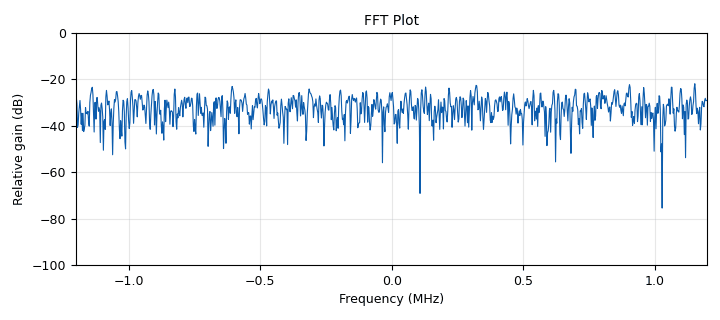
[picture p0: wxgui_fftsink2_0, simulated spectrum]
<?xml version='1.0' encoding='utf-8'?>
<flow_graph>
<block>
<key>options</key>
<param><key>id</key><value>top_block</value></param>
<param><key>generate_options</key><value>wx_gui</value></param>
<param><key>category</key><value>Custom</value></param>
</block>
<block>
<key>variable</key>
<param><key>id</key><value>samp_rate</value></param>
<param><key>value</key><value>2.4e6</value></param>
</block>
<block>
<key>wxgui_fftsink2</key>
<param><key>id</key><value>wxgui_fftsink2_0</value></param>
<param><key>type</key><value>complex</value></param>
<param><key>title</key><value>FFT Plot</value></param>
<param><key>samp_rate</key><value>samp_rate</value></param>
<param><key>baseband_freq</key><value>0</value></param>
<param><key>y_per_div</key><value>10</value></param>
<param><key>y_divs</key><value>10</value></param>
<param><key>ref_level</key><value>0</value></param>
<param><key>ref_scale</key><value>2.0</value></param>
<param><key>fft_size</key><value>1024</value></param>
<param><key>fft_rate</key><value>15</value></param>
<param><key>peak_hold</key><value>False</value></param>
<param><key>average</key><value>False</value></param>
<param><key>avg_alpha</key><value>0</value></param>
<param><key>win</key><value>None</value></param>
<param><key>freqvar</key><value>None</value></param>
</block>
<block>
<key>blocks_stream_to_vector</key>
<param><key>id</key><value>blocks_stream_to_vector_0</value></param>
<param><key>type</key><value>complex</value></param>
<param><key>num_items</key><value>2048</value></param>
</block>
<block>
<key>analog_noise_source_x</key>
<param><key>id</key><value>analog_noise_source_x_0</value></param>
<param><key>type</key><value>complex</value></param>
<param><key>noise_type</key><value>analog.GR_GAUSSIAN</value></param>
<param><key>amp</key><value>1</value></param>
<param><key>seed</key><value>0</value></param>
</block>
<block>
<key>gr_throttle</key>
<param><key>id</key><value>gr_throttle_0</value></param>
<param><key>type</key><value>complex</value></param>
<param><key>samples_per_second</key><value>samp_rate</value></param>
<param><key>vlen</key><value>1</value></param>
</block>
<block>
<key>fft_vxx</key>
<param><key>id</key><value>fft_vxx_0</value></param>
<param><key>type</key><value>complex</value></param>
<param><key>fft_size</key><value>2048</value></param>
<param><key>forward</key><value>True</value></param>
<param><key>window</key><value>window.blackmanharris(1024)</value></param>
<param><key>shift</key><value>True</value></param>
</block>
<block>
<key>howto_spectrum_sensing_cf</key>
<param><key>id</key><value>howto_spectrum_sensing_cf_0</value></param>
<param><key>sample_rate</key><value>samp_rate</value></param>
<param><key>ninput_samples</key><value>2048</value></param>
<param><key>samples_per_band</key><value>16</value></param>
<param><key>pfd</key><value>0.001</value></param>
<param><key>pfa</key><value>0.0001</value></param>
<param><key>tcme</key><value>1.9528</value></param>
<param><key>output_far</key><value>True</value></param>
<param><key>band_location</key><value>0</value></param>
<param><key>nsegs_to_check</key><value>6</value></param>
<param><key>debug_stats</key><value>False</value></param>
<param><key>debug_histogram</key><value>False</value></param>
<param><key>useless_band</key><value>200000.0</value></param>
<param><key>nframes_to_check</key><value>3</value></param>
<param><key>nframes_to_average</key><value>4</value></param>
<param><key>downconverter</key><value>1</value></param>
</block>
<block>
<key>gr_file_sink</key>
<param><key>id</key><value>gr_file_sink_0</value></param>
<param><key>file</key><value>/home/zz4fap/Dropbox/gnuradio/gr-howto/false_alarm_rate.dat</value></param>
<param><key>type</key><value>float</value></param>
<param><key>vlen</key><value>1</value></param>
<param><key>unbuffered</key><value>False</value></param>
</block>
<connection><source_block_id>fft_vxx_0</source_block_id><sink_block_id>howto_spectrum_sensing_cf_0</sink_block_id><source_key>0</source_key><sink_key>0</sink_key></connection>
<connection><source_block_id>gr_throttle_0</source_block_id><sink_block_id>wxgui_fftsink2_0</sink_block_id><source_key>0</source_key><sink_key>0</sink_key></connection>
<connection><source_block_id>howto_spectrum_sensing_cf_0</source_block_id><sink_block_id>gr_file_sink_0</sink_block_id><source_key>0</source_key><sink_key>0</sink_key></connection>
<connection><source_block_id>blocks_stream_to_vector_0</source_block_id><sink_block_id>fft_vxx_0</sink_block_id><source_key>0</source_key><sink_key>0</sink_key></connection>
<connection><source_block_id>analog_noise_source_x_0</source_block_id><sink_block_id>gr_throttle_0</sink_block_id><source_key>0</source_key><sink_key>0</sink_key></connection>
<connection><source_block_id>analog_noise_source_x_0</source_block_id><sink_block_id>blocks_stream_to_vector_0</sink_block_id><source_key>0</source_key><sink_key>0</sink_key></connection>
</flow_graph>
